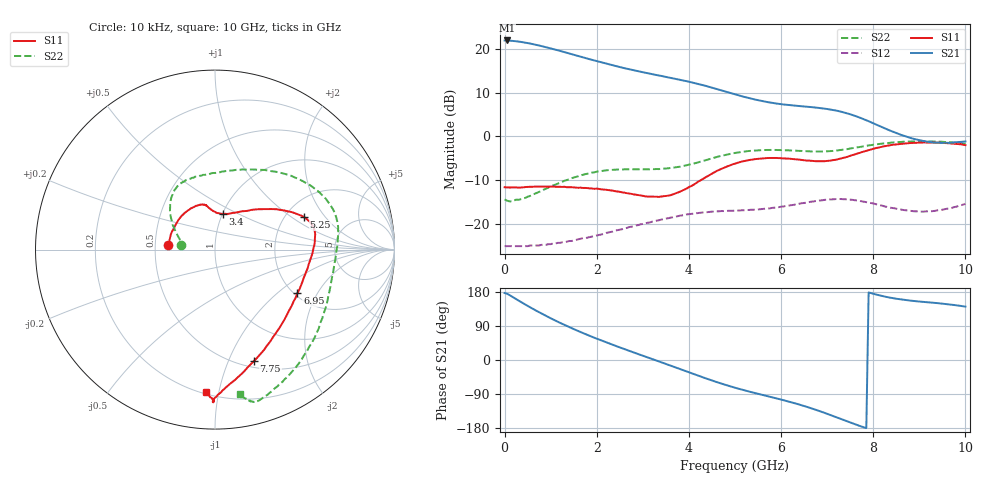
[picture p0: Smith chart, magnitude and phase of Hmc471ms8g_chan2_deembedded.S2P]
# MHZ S MA R 50
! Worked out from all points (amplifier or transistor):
!   201 points, 10 kHz to 10 GHz, reference 50 ohm
!   highest |S21| = 22.0 dB at 50.01 MHz (marker M1)
!   |S21| within 3 dB of that: start of sweep to 1.404 GHz
!   unconditionally stable (mu >= 1): start of sweep to 5.46 GHz
!   at 1.65 GHz: K = 1.11, MAG = 18.9 dB, |S12| = -23.5 dB
!   at 5 GHz: K = 1.02, MAG = 12.5 dB, |S12| = -17.0 dB
!   at 10 GHz: K = 0.88, MSG = 7.2 dB, |S12| = -15.5 dB
!   S11 on the Smith chart (normalised r, x): 10 kHz: 0.59, +0.04; 3.4 GHz: 1.01, +0.42; 5.25 GHz: 2.51, +1.27; 6.95 GHz: 2.08, -1.38; 7.75 GHz: 0.57, -1.24; 10 GHz: 0.21, -0.91
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0.01  0.261 173.8  12.56 176.7  0.055 -1.7  0.189 172.8
50.01  0.26 173.5  12.59 175.0  0.055 -0.6  0.183 175.4
250.01  0.26 157.2  12.32 160.8  0.055 -1.1  0.188 171.1
450.01  0.262 141.7  11.88 146.3  0.055 -1.7  0.197 165.6
650.009  0.265 129.8  11.3 132.6  0.056 -2.1  0.219 160.2
800.009  0.265 122.5  10.83 122.7  0.057 -2.3  0.237 156.0
1150.009  0.264 110.9  9.725 101.1  0.06 -2.7  0.286 147.0
1450.009  0.261 105.4  8.778 84.3  0.063 -3.8  0.331 139.3
1700.008  0.256 102.9  8.059 71.1  0.068 -5.3  0.362 133.4
2050.008  0.249 100.9  7.164 53.9  0.074 -8.3  0.397 125.4
2450.008  0.233 97.7  6.331 35.4  0.084 -13.5  0.416 116.5
2850.007  0.214 92.0  5.663 17.8  0.095 -20.1  0.42 107.9
3350.007  0.202 79.1  4.984 -3.8  0.109 -30.7  0.421 94.8
3400.007  0.204 77.3  4.933 -6.1  0.111 -31.9  0.425 93.0
4200.006  0.302 47.2  3.986 -41.2  0.132 -53.4  0.503 62.3
5000.005  0.487 24.8  3.039 -73.1  0.141 -74.9  0.645 32.9
5250.005  0.528 20.1  2.798 -81.5  0.143 -80.6  0.674 26.0
6700.003  0.521 -15.3  2.154 -129.2  0.179 -115.2  0.67 -6.4
6950.003  0.519 -27.9  2.08 -139.8  0.187 -124.0  0.671 -14.6
7750.002  0.658 -70.8  1.607 -175.8  0.18 -155.0  0.763 -47.7
8350.002  0.787 -87.0  1.173 164.9  0.153 -171.2  0.841 -66.6
10000  0.793 -93.8  0.875 140.9  0.168 172.0  0.818 -80.2
